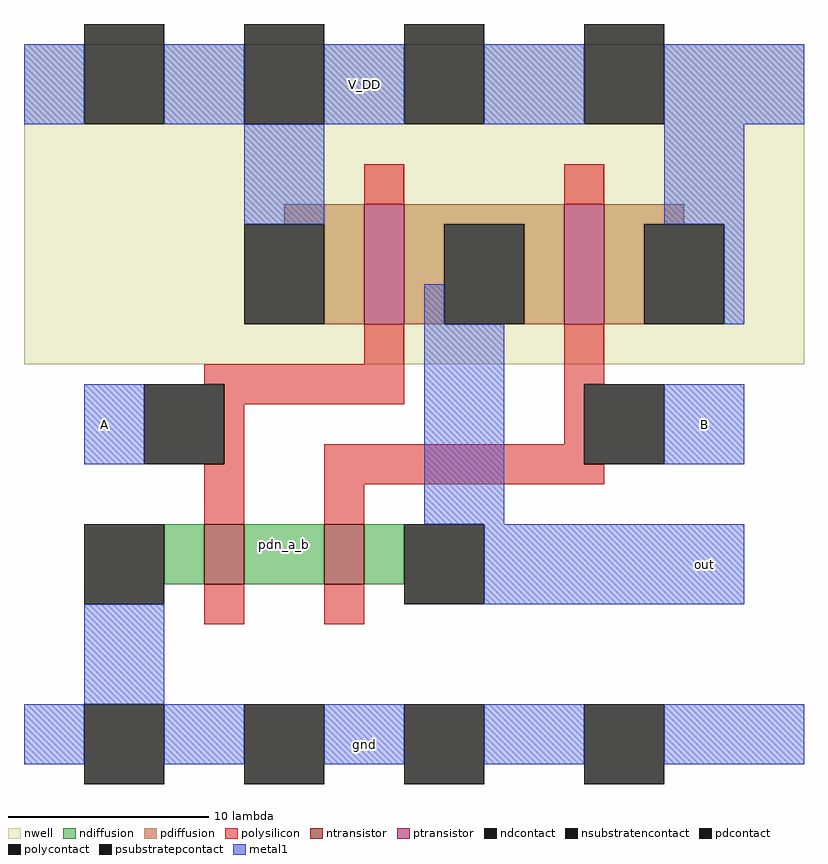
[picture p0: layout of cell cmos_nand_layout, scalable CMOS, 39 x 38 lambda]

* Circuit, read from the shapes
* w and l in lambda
.subckt cmos_nand_layout A B V_DD gnd out pdn_a_b
M1 pdn_a_b A gnd gnd nfet w=3 l=2
M2 out B pdn_a_b gnd nfet w=3 l=2
M3 out A V_DD V_DD pfet w=6 l=2
M4 V_DD B out V_DD pfet w=6 l=2
.ends

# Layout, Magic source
magic
tech scmos
<< nwell >>
rect -17 18 22 34
<< polysilicon >>
rect 0 26 2 28
rect 10 26 12 28
rect 0 18 2 20
rect -8 17 2 18
rect -7 16 2 17
rect 10 17 12 20
rect -7 13 -6 16
rect 10 14 11 17
rect -8 10 -6 13
rect -2 13 11 14
rect -2 12 12 13
rect -2 10 0 12
rect -8 5 -6 7
rect -2 5 0 7
<< ndiffusion >>
rect -10 7 -8 10
rect -6 7 -2 10
rect 0 7 2 10
<< pdiffusion >>
rect -4 25 0 26
rect -2 20 0 25
rect 2 25 10 26
rect 2 20 4 25
rect 8 20 10 25
rect 12 25 16 26
rect 12 20 14 25
<< metal1 >>
rect -17 30 -14 34
rect -10 30 -6 34
rect -2 30 2 34
rect 6 30 11 34
rect 15 30 22 34
rect -6 25 -2 30
rect 15 25 19 30
rect 3 20 4 22
rect 18 20 19 25
rect -14 13 -11 17
rect 3 10 7 20
rect 15 13 19 17
rect 6 6 19 10
rect -14 1 -10 6
rect -17 -2 -14 1
rect -10 -2 -6 1
rect -2 -2 2 1
rect 6 -2 11 1
rect 15 -2 22 1
<< ntransistor >>
rect -8 7 -6 10
rect -2 7 0 10
<< ptransistor >>
rect 0 20 2 26
rect 10 20 12 26
<< polycontact >>
rect -11 13 -7 17
rect 11 13 15 17
<< ndcontact >>
rect -14 6 -10 10
rect 2 6 6 10
<< pdcontact >>
rect -6 20 -2 25
rect 4 20 8 25
rect 14 20 18 25
<< psubstratepcontact >>
rect -14 -3 -10 1
rect -6 -3 -2 1
rect 2 -3 6 1
rect 11 -3 15 1
<< nsubstratencontact >>
rect -14 30 -10 35
rect -6 30 -2 35
rect 2 30 6 35
rect 11 30 15 35
<< labels >>
rlabel metal1 0 32 0 32 5 V_DD
rlabel metal1 0 -1 0 -1 1 gnd
rlabel metal1 -13 15 -13 15 3 A
rlabel metal1 17 15 17 15 7 B
rlabel metal1 17 8 17 8 7 out
rlabel ndiffusion -4 9 -4 9 1 pdn_a_b
<< end >>
